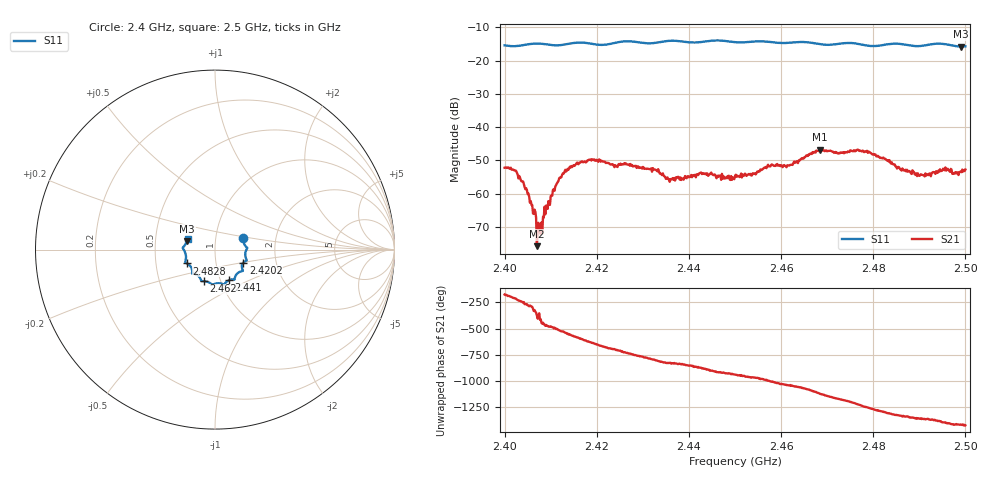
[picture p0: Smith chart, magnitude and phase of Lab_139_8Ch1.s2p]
# Hz S RI R 50
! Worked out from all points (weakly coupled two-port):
!   601 points, 2.4 GHz to 2.5 GHz, reference 50 ohm
!   highest |S21| = -46.74 dB at 2.4685 GHz (marker M1); lowest = -75.8 dB at 2.407 GHz (marker M2)
!   lowest |S11| = -15.8 dB at 2.499 GHz (marker M3), VSWR 1.39, Z = 36.4 + j3.53 ohm
!   |S11| at or under -10 dB: start of sweep to end of sweep
!   S12 and S22 are empty: the file has one direction only
!   S11 on the Smith chart (normalised r, x): 2.4 GHz: 1.36, +0.17; 2.4202 GHz: 1.36, -0.20; 2.441 GHz: 1.10, -0.39; 2.462 GHz: 0.84, -0.30; 2.4828 GHz: 0.72, -0.11; 2.5 GHz: 0.73, +0.09
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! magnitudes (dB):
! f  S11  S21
! 2.4 GHz  -15.4  -52.2
! 2.4022 GHz  -15.7  -53.1
! 2.4037 GHz  -15.4  -56.3
! 2.4052 GHz  -15.1  -60.0
! 2.407 GHz  -14.9  -75.8
! 2.4075 GHz  -14.9  -69.5
! 2.4123 GHz  -15.3  -55.0
! 2.4167 GHz  -14.6  -50.4
! 2.4202 GHz  -15.2  -50.1
! 2.4333 GHz  -14.5  -52.6
! 2.4355 GHz  -14.1  -55.7
! 2.441 GHz  -14.6  -54.4
! 2.45 GHz  -14.4  -54.8
! 2.462 GHz  -14.6  -51.4
! 2.4667 GHz  -14.6  -48.1
! 2.4685 GHz  -15.1  -46.7
! 2.4768 GHz  -15.0  -47.0
! 2.4828 GHz  -15.1  -49.8
! 2.4833 GHz  -15.0  -50.3
! 2.4897 GHz  -15.6  -53.9
! 2.499 GHz  -15.8  -53.3
! 2.5 GHz  -15.7  -52.8
